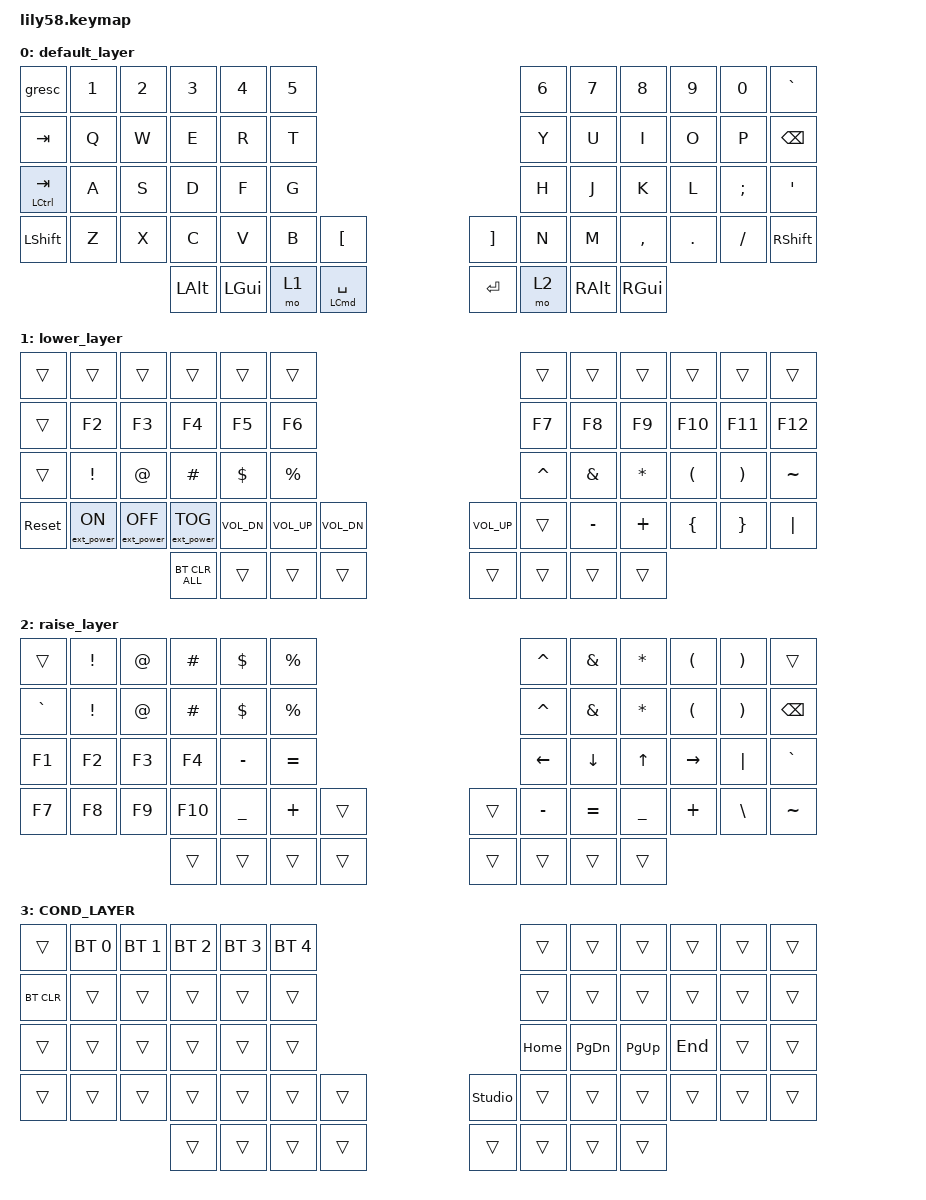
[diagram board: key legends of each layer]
/*
 * Copyright (c) 2020 The ZMK Contributors
 *
 * SPDX-License-Identifier: MIT
 */

#include <behaviors.dtsi>
#include <dt-bindings/zmk/bt.h>
#include <dt-bindings/zmk/ext_power.h>
#include <dt-bindings/zmk/keys.h>

/ {
    keymap {
        compatible = "zmk,keymap";

        default_layer {
            // ------------------------------------------------------------------------------------------------------------
            // |  ESC  |  1  |  2  |  3   |  4   |  5   |                   |  6   |  7    |  8    |  9   |   0   |   `   |
            // |  TAB  |  Q  |  W  |  E   |  R   |  T   |                   |  Y   |  U    |  I    |  O   |   P   |   -   |
            // |  CTRL |  A  |  S  |  D   |  F   |  G   |                   |  H   |  J    |  K    |  L   |   ;   |   '   |
            // | SHIFT |  Z  |  X  |  C   |  V   |  B   |   "["  |  |  "]"  |  N   |  M    |  ,    |  .   |   /   | SHIFT |
            //                     | ALT  | GUI  | LOWER|  SPACE |  | ENTER | RAISE| BSPC  | GUI   |

            bindings = <
&gresc         &kp N1  &kp N2  &kp N3    &kp N4    &kp N5                                      &kp N6  &kp N7         &kp N8         &kp N9   &kp N0    &kp GRAVE
&kp TAB        &kp Q   &kp W   &kp E     &kp R     &kp T                                       &kp Y   &kp U          &kp I          &kp O    &kp P     &kp BACKSPACE
&mt LCTRL TAB  &kp A   &kp S   &kp D     &kp F     &kp G                                       &kp H   &kp J          &kp K          &kp L    &kp SEMI  &kp SQT
&kp LSHFT      &kp Z   &kp X   &kp C     &kp V     &kp B   &kp LBKT                  &kp RBKT  &kp N   &kp M          &kp COMMA      &kp DOT  &kp FSLH  &kp RSHFT
                               &kp LALT  &kp LGUI  &mo 1   &mt LEFT_COMMAND SPACE    &kp RET   &mo 2   &kp RIGHT_ALT  &kp RIGHT_GUI
            >;
        };

        lower_layer {
            // ------------------------------------------------------------------------------------------------------------
            // | BTCLR | BT1 | BT2 |  BT3 |  BT4 |  BT5 |                   |      |       |       |      |       |       |
            // |  F1   |  F2 |  F3 |  F4  |  F5  |  F6  |                   |  F7  |  F8   |  F9   |  F10 |  F11  |  F12  |
            // |   `   |  !  |  @  |  #   |  $   |  %   |                   |  ^   |  &    |  *    |  (   |   )   |   ~   |
            // |       |     |     |      |      |      |        |  |       |      |  _    |  +    |  {   |   }   |  "|"  |
            //                     |      |      |      |        |  |       |      |       |       |

            bindings = <
&trans      &trans            &trans             &trans             &trans        &trans                                      &trans     &trans     &trans     &trans    &trans    &trans
&trans      &kp F2            &kp F3             &kp F4             &kp F5        &kp F6                                      &kp F7     &kp F8     &kp F9     &kp F10   &kp F11   &kp F12
&trans      &kp EXCL          &kp AT             &kp HASH           &kp DOLLAR    &kp PRCNT                                   &kp CARET  &kp AMPS   &kp ASTRK  &kp LPAR  &kp RPAR  &kp TILDE
&sys_reset  &ext_power EP_ON  &ext_power EP_OFF  &ext_power EP_TOG  &kp C_VOL_DN  &kp C_VOL_UP  &kp C_VOL_DN    &kp C_VOL_UP  &trans     &kp MINUS  &kp PLUS   &kp LBRC  &kp RBRC  &kp PIPE
                                                 &bt BT_CLR_ALL     &trans        &trans        &trans          &trans        &trans     &trans     &trans
            >;
        };

        raise_layer {
            // ------------------------------------------------------------------------------------------------------------
            // |       |     |     |      |      |      |                   |      |       |       |      |       |       |
            // |   `   |  1  |  2  |  3   |  4   |  5   |                   |  6   |   7   |   8   |  9   |   0   |       |
            // |   F1  |  F2 |  F3 |  F4  |  F5  |  F6  |                   |      |   <-  |   v   |  ^   |  ->   |       |
            // |   F7  |  F8 |  F9 |  F10 |  F11 |  F12 |        |  |       |  +   |   -   |   =   |  [   |   ]   |   \   |
            //                     |      |      |      |        |  |       |      |       |       |

            bindings = <
&trans     &kp EXCLAMATION  &kp AT_SIGN  &kp HASH  &kp DOLLAR  &kp PERCENT                    &kp CARET       &kp AMPS        &kp ASTERISK  &kp LEFT_PARENTHESIS  &kp RIGHT_PARENTHESIS  &trans
&kp GRAVE  &kp EXCLAMATION  &kp AT_SIGN  &kp HASH  &kp DOLLAR  &kp PERCENT                    &kp CARET       &kp AMPERSAND   &kp STAR      &kp LEFT_PARENTHESIS  &kp RIGHT_PARENTHESIS  &kp BACKSPACE
&kp F1     &kp F2           &kp F3       &kp F4    &kp MINUS   &kp EQUAL                      &kp LEFT_ARROW  &kp DOWN_ARROW  &kp UP_ARROW  &kp RIGHT             &kp PIPE               &kp GRAVE
&kp F7     &kp F8           &kp F9       &kp F10   &kp UNDER   &kp PLUS     &trans    &trans  &kp MINUS       &kp EQUAL       &kp UNDER     &kp PLUS              &kp BACKSLASH          &kp TILDE
                                         &trans    &trans      &trans       &trans    &trans  &trans          &trans          &trans
            >;
        };

        COND_LAYER {
            bindings = <
&trans      &bt BT_SEL 0  &bt BT_SEL 1  &bt BT_SEL 2  &bt BT_SEL 3  &bt BT_SEL 4                            &trans    &trans         &trans       &trans   &trans  &trans
&bt BT_CLR  &trans        &trans        &trans        &trans        &trans                                  &trans    &trans         &trans       &trans   &trans  &trans
&trans      &trans        &trans        &trans        &trans        &trans                                  &kp HOME  &kp PAGE_DOWN  &kp PAGE_UP  &kp END  &trans  &trans
&trans      &trans        &trans        &trans        &trans        &trans        &trans    &studio_unlock  &trans    &trans         &trans       &trans   &trans  &trans
                                        &trans        &trans        &trans        &trans    &trans          &trans    &trans         &trans
            >;
        };
    };

    conditional_layers {
        compatible = "zmk,conditional-layers";

        Layer-3 {
            if-layers = <1 2>;
            then-layer = <3>;
        };
    };
};
